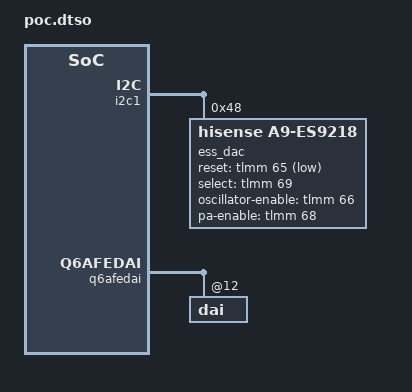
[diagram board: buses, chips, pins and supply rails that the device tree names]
// SPDX-License-Identifier: (GPL-2.0-only OR BSD-2-Clause)
/* R4 keeps its D1 card disabled; ESS is the sole live ALSA card (card0). */
/dts-v1/;
/plugin/;
#include <dt-bindings/gpio/gpio.h>
#include <dt-bindings/sound/qcom,q6afe.h>
#include <dt-bindings/sound/qcom,q6asm.h>

&{/sound} { status = "disabled"; };

&{/} {
 sound-ess {
  compatible = "hisense,a9-es9218-sndcard";
  model = "Hisense-A9-HiFi";
  pinctrl-names = "default", "sleep";
  pinctrl-0 = <&ess_i2s_default>;
  pinctrl-1 = <&ess_i2s_sleep>;
  audio-routing = "Headphone Jack", "HPOUTL", "Headphone Jack", "HPOUTR";
  mm1-dai-link {
   link-name = "MultiMedia1";
   cpu { sound-dai = <&q6asmdai MSM_FRONTEND_DAI_MULTIMEDIA1>; };
  };
  ess-dai-link {
   link-name = "ESS HiFi Playback";
   cpu { sound-dai = <&q6afedai SECONDARY_MI2S_RX>; };
   platform { sound-dai = <&q6routing>; };
   codec { sound-dai = <&ess_dac>; };
  };
 };
};

&i2c1 {
 #address-cells = <1>;
 #size-cells = <0>;
 ess_dac: audio-codec@48 {
  compatible = "hisense,a9-es9218";
  reg = <0x48>;
  #sound-dai-cells = <0>;
  reset-gpios = <&tlmm 65 GPIO_ACTIVE_LOW>;
  select-gpios = <&tlmm 69 GPIO_ACTIVE_HIGH>;
  oscillator-enable-gpios = <&tlmm 66 GPIO_ACTIVE_HIGH>;
  pa-enable-gpios = <&tlmm 68 GPIO_ACTIVE_HIGH>;
 };
};
&q6afedai {
 #address-cells = <1>;
 #size-cells = <0>;
 dai@12 { reg = <SECONDARY_MI2S_RX>; qcom,sd-lines = <0>; };
};
&lpass_tlmm {
 status = "okay";
 ess_i2s_default: ess-i2s-default-state {
  clk { pins = "gpio10"; function = "i2s2_clk"; drive-strength = <8>; bias-disable; output-high; };
  ws { pins = "gpio11"; function = "i2s2_ws"; drive-strength = <8>; bias-disable; output-high; };
  data { pins = "gpio12"; function = "i2s2_data"; drive-strength = <8>; bias-disable; output-high; };
 };
 ess_i2s_sleep: ess-i2s-sleep-state {
  clk { pins = "gpio10"; function = "i2s2_clk"; drive-strength = <2>; bias-pull-down; input-enable; };
  ws { pins = "gpio11"; function = "i2s2_ws"; drive-strength = <2>; bias-pull-down; input-enable; };
  data { pins = "gpio12"; function = "i2s2_data"; drive-strength = <2>; bias-pull-down; input-enable; };
 };
};
&tlmm {
 /* Preserve R4's other reservations; release only ESS 65/66/68/69. */
 gpio-reserved-ranges = <3 1>, <14 7>, <22 3>, <27 4>, <32 1>,
                        <35 1>, <37 28>, <67 1>, <70 1>, <72 8>,
                        <87 21>, <109 5>;
};
